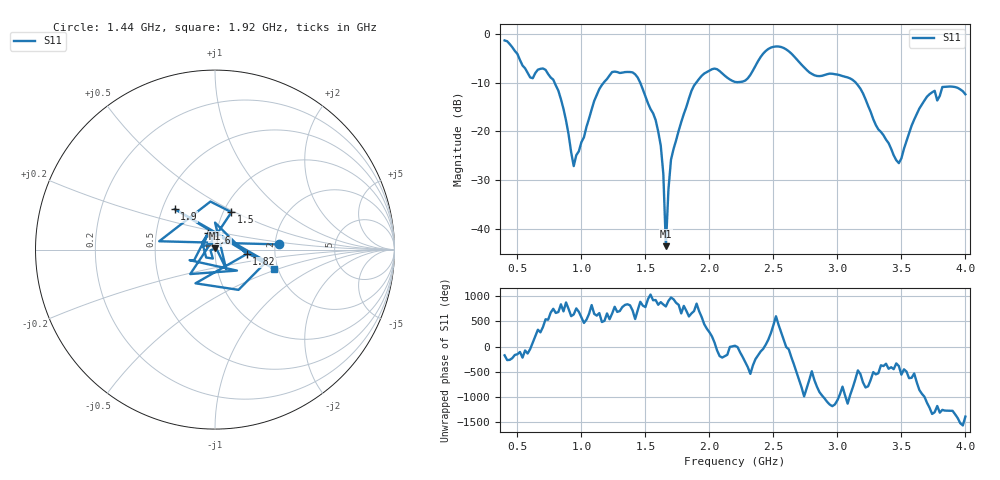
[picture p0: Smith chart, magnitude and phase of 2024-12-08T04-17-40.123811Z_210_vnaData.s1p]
!Created with skrf (http://scikit-rf.org).
# Hz S RI R 50.0
!freq ReS11 ImS11
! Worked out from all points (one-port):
!   181 points, 400 MHz to 4 GHz, reference 50 ohm
!   lowest |S11| = -43.5 dB at 1.66 GHz (marker M1), VSWR 1.01, Z = 50.1 + j0.656 ohm
!   |S11| at or under -10 dB: 790.1 MHz to 1.175 GHz (384.9 MHz wide, 39.2 % of centre); 1.459 GHz to 1.897 GHz (438.4 MHz wide, 26.1 % of centre); 3.143 GHz to end of sweep
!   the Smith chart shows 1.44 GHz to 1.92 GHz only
!   S11 on the Smith chart (normalised r, x): 1.44 GHz: 2.09, +0.14; 1.5 GHz: 1.09, +0.48; 1.6 GHz: 0.91, +0.17; 1.82 GHz: 1.43, -0.07; 1.9 GHz: 0.58, +0.29; 1.92 GHz: 1.90, -0.47
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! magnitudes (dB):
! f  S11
! 400 MHz  -1.4
! 600 MHz  -9.0
! 720 MHz  -7.4
! 860 MHz  -15.4
! 940 MHz  -27.1
! 1.14 GHz  -11.3
! 1.3 GHz  -8.0
! 1.44 GHz  -9.0
! 1.5 GHz  -12.9
! 1.6 GHz  -20.0
! 1.64 GHz  -28.7
! 1.66 GHz  -43.5
! 1.68 GHz  -31.9
! 1.7 GHz  -25.8
! 1.76 GHz  -19.9
! 1.82 GHz  -15.0
! 1.9 GHz  -9.9
! 1.92 GHz  -9.2
! 2.04 GHz  -7.1
! 2.2 GHz  -9.9
! 2.48 GHz  -2.8
! 2.66 GHz  -4.6
! 2.82 GHz  -8.5
! 3.1 GHz  -9.2
! 3.48 GHz  -26.5
! 3.56 GHz  -20.4
! 3.74 GHz  -12.0
! 4 GHz  -12.4
